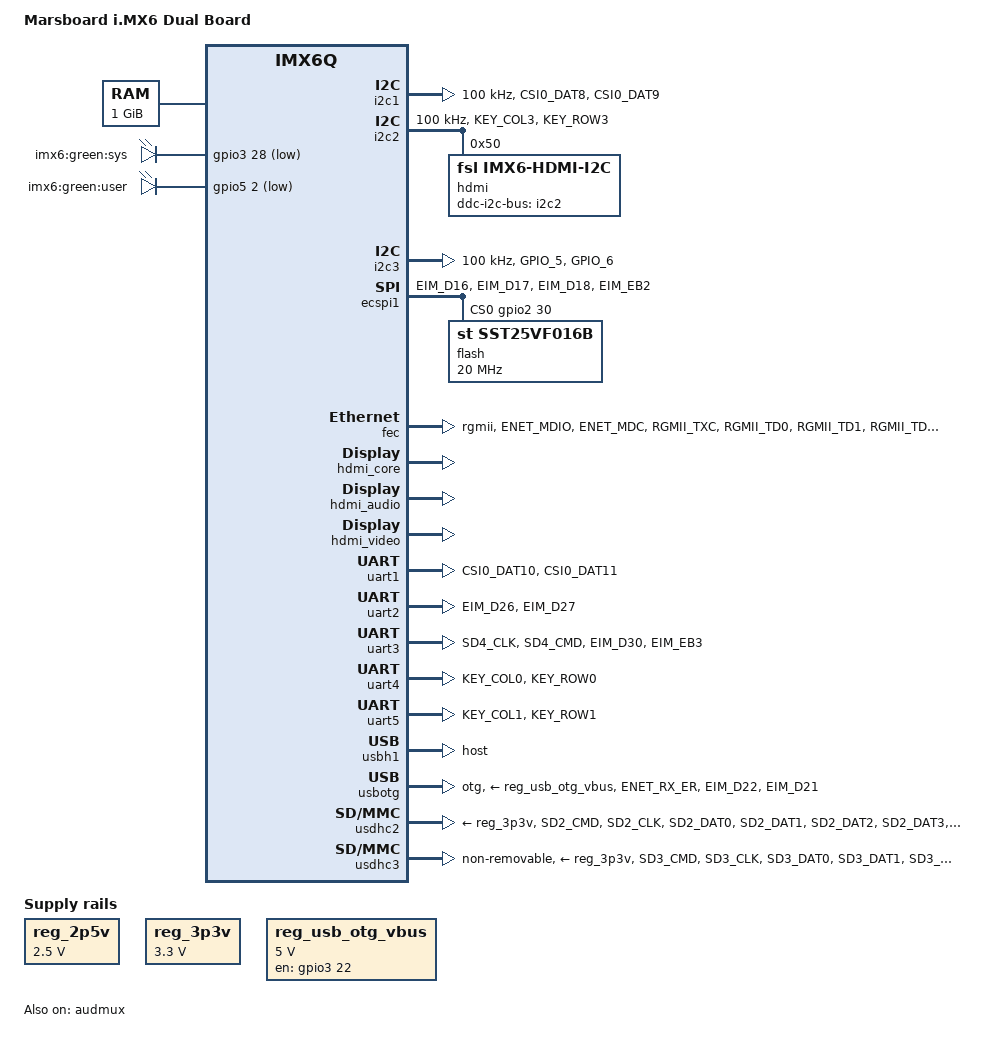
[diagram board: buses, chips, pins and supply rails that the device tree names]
/dts-v1/;

#include "imx6q.dtsi"
#include <dt-bindings/gpio/gpio.h>

/ {
  	model = "Marsboard i.MX6 Dual Board";
	compatible = "embest,imx6q-marsboard", "fsl,imx6q";


	aliases {
		mxcfb0 = &mxcfb1;
		mxcfb1 = &mxcfb2;
		mxcfb2 = &mxcfb3;
		mxcfb3 = &mxcfb4;
	};


	memory {
		reg = <0x10000000 0x40000000>;
	};


	regulators {
		compatible = "simple-bus";
		#address-cells = <1>;
		#size-cells = <0>;

		reg_2p5v: regulator@0 {
			compatible = "regulator-fixed";
			reg = <0>;
			regulator-name = "2P5V";
			regulator-min-microvolt = <2500000>;
			regulator-max-microvolt = <2500000>;
		};

		reg_3p3v: regulator@1 {
			compatible = "regulator-fixed";
			reg = <1>;
			regulator-name = "3P3V";
			regulator-min-microvolt = <3300000>;
			regulator-max-microvolt = <3300000>;
		};

		reg_usb_otg_vbus: regulator@2 {
			compatible = "regulator-fixed";
			reg = <2>;
			regulator-name = "usb_otg_vbus";
			regulator-min-microvolt = <5000000>;
			regulator-max-microvolt = <5000000>;
			gpio = <&gpio3 22 0>; // Alt4: USB_OTG_PWR
			enable-active-high;
		};
	};

	leds { /* see iomuxc definition below */
		compatible = "gpio-leds";
		pinctrl-names = "default";
		pinctrl-0 = <&pinctrl_led>;

		sys_led {
			label = "imx6:green:sys";
			gpios = <&gpio3 28 GPIO_ACTIVE_LOW>;
			linux,default-trigger = "heartbeat";
		};

		user_led {
			label = "imx6:green:user";
			gpios = <&gpio5 2 GPIO_ACTIVE_LOW>;
			default-state = "off";
		};
	};
	
	sound-hdmi {
		compatible = "fsl,imx6q-audio-hdmi", "fsl,imx-audio-hdmi";
		model = "imx-audio-hdmi";
		hdmi-controller = <&hdmi_audio>;
		status = "okay";
	};

	mxcfb1: fb@0 {
		compatible = "fsl,mxc_sdc_fb";
		disp_dev = "hdmi";
		interface_pix_fmt = "RGB24";
		mode_str ="1280x720M@60";
		default_bpp = <32>;
		int_clk = <0>;
		late_init = <0>;
		status = "okay";
	};

	mxcfb2: fb@1 {
		compatible = "fsl,mxc_sdc_fb";
		disp_dev = "ldb";
		interface_pix_fmt = "RGB666";
		mode_str ="LDB-XGA";
		default_bpp = <16>;
		int_clk = <0>;
		late_init = <0>;
		status = "disabled";
	};

	mxcfb3: fb@2 {
		compatible = "fsl,mxc_sdc_fb";
		disp_dev = "lcd";
		interface_pix_fmt = "RGB565";
		mode_str ="CLAA-WVGA";
		default_bpp = <16>;
		int_clk = <0>;
		late_init = <0>;
		status = "disabled";
	};

	mxcfb4: fb@3 {
		compatible = "fsl,mxc_sdc_fb";
		disp_dev = "ldb";
		interface_pix_fmt = "RGB666";
		mode_str ="LDB-XGA";
		default_bpp = <16>;
		int_clk = <0>;
		late_init = <0>;
		status = "disabled";
	};

	v4l2_cap_0 {
		compatible = "fsl,imx6q-v4l2-capture";
		ipu_id = <0>;
		csi_id = <0>;
		mclk_source = <0>;
		status = "disabled";
	}; 

	v4l2_cap_1 {
		compatible = "fsl,imx6q-v4l2-capture";
		ipu_id = <0>;
		csi_id = <1>;
		mclk_source = <0>;
		status = "disabled";
	};

	v4l2_out { // v4l2 output support: /dev/video16 + /dev/video17
		compatible = "fsl,mxc_v4l2_output";
		status = "okay";
	};

};

&iomuxc {
	pinctrl-names = "default";

	imx6q-marsboard {

		pinctrl_led: ledgrp {
			fsl,pins = < 
				/* gpio-leds */
				MX6QDL_PAD_EIM_A25__GPIO5_IO02		0x1b0b1	/* user led */
				MX6QDL_PAD_EIM_D28__GPIO3_IO28		0x1b0b1	/* sys led */
			>;
		};

               pinctrl_audmux: audmuxgrp {
                       fsl,pins = <
                               MX6QDL_PAD_CSI0_DAT7__AUD3_RXD          0x130b0
                               MX6QDL_PAD_CSI0_DAT4__AUD3_TXC          0x130b0
                               MX6QDL_PAD_CSI0_DAT5__AUD3_TXD          0x110b0
                               MX6QDL_PAD_CSI0_DAT6__AUD3_TXFS         0x130b0
                       >;
               };

		pinctrl_ecspi1: ecspi1grp {
			fsl,pins = <
				MX6QDL_PAD_EIM_D16__ECSPI1_SCLK		0x100b1
				MX6QDL_PAD_EIM_D17__ECSPI1_MISO		0x100b1
				MX6QDL_PAD_EIM_D18__ECSPI1_MOSI		0x100b1
				MX6QDL_PAD_EIM_EB2__GPIO2_IO30		0x000b1	/* CS0 */
			>;
		};

		pinctrl_ecspi2: ecspi2grp {
			fsl,pins = <
				MX6QDL_PAD_EIM_CS0__ECSPI2_SCLK		0x100b1
				MX6QDL_PAD_EIM_CS1__ECSPI2_MOSI		0x100b1
				MX6QDL_PAD_EIM_OE__ECSPI2_MISO		0x100b1
				MX6QDL_PAD_EIM_LBA__GPIO2_IO27		0x000b1	/* CS0 */
				MX6QDL_PAD_EIM_A17__GPIO2_IO21		0x000b1	/* IRQ */
			>;
		};

		pinctrl_enet: enetgrp {
			fsl,pins = <
				MX6QDL_PAD_ENET_MDIO__ENET_MDIO		0x1b8b0
				MX6QDL_PAD_ENET_MDC__ENET_MDC 		0x1b0b0
				MX6QDL_PAD_RGMII_TXC__RGMII_TXC		0x1b0b0
				MX6QDL_PAD_RGMII_TD0__RGMII_TD0		0x1b030
				MX6QDL_PAD_RGMII_TD1__RGMII_TD1		0x1b030
				MX6QDL_PAD_RGMII_TD2__RGMII_TD2		0x1b030
				MX6QDL_PAD_RGMII_TD3__RGMII_TD3		0x1b030
				MX6QDL_PAD_RGMII_TX_CTL__RGMII_TX_CTL	0x1b030
				MX6QDL_PAD_ENET_REF_CLK__ENET_TX_CLK	0x0a0b1
				MX6QDL_PAD_RGMII_RXC__RGMII_RXC		0x1b030 // AR8035 pin strapping: IO voltage: pull up
				MX6QDL_PAD_RGMII_RD0__RGMII_RD0		0x13030 // AR8035 pin strapping: PHYADDR#0: pull down
				MX6QDL_PAD_RGMII_RD1__RGMII_RD1		0x13030 // AR8035 pin strapping: PHYADDR#1: pull down
				MX6QDL_PAD_RGMII_RD2__RGMII_RD2		0x1b030 // AR8035 pin strapping: MODE#1: pull up
				MX6QDL_PAD_RGMII_RD3__RGMII_RD3		0x1b030 // AR8035 pin strapping: MODE#3: pull up 
				MX6QDL_PAD_RGMII_RX_CTL__RGMII_RX_CTL	0x13030 // AR8035 pin strapping: MODE#0: pull down
				MX6QDL_PAD_GPIO_16__ENET_REF_CLK	0x4001b0a8
				MX6QDL_PAD_ENET_TX_EN__GPIO1_IO28	0x180b0 // AR8035 interrupt
				MX6QDL_PAD_EIM_D31__GPIO3_IO31		0x130b0 // AR8035 reset
			>;
		};

		pinctrl_usdhc2: usdhc2grp {
			fsl,pins = <
				MX6QDL_PAD_SD2_CMD__SD2_CMD    		0x17059
				MX6QDL_PAD_SD2_CLK__SD2_CLK    		0x10059
				MX6QDL_PAD_SD2_DAT0__SD2_DATA0 		0x17059
				MX6QDL_PAD_SD2_DAT1__SD2_DATA1 		0x17059
				MX6QDL_PAD_SD2_DAT2__SD2_DATA2 		0x17059
				MX6QDL_PAD_SD2_DAT3__SD2_DATA3 		0x17059
				MX6QDL_PAD_GPIO_4__GPIO1_IO04		0x1b0b0	/* SD2 CD */
			>;
		};

		pinctrl_usdhc3: usdhc3grp {
			fsl,pins = <
				MX6QDL_PAD_SD3_CMD__SD3_CMD    		0x17009
				MX6QDL_PAD_SD3_CLK__SD3_CLK    		0x10009
				MX6QDL_PAD_SD3_DAT0__SD3_DATA0 		0x17009
				MX6QDL_PAD_SD3_DAT1__SD3_DATA1 		0x17009
				MX6QDL_PAD_SD3_DAT2__SD3_DATA2 		0x17009
				MX6QDL_PAD_SD3_DAT3__SD3_DATA3 		0x17009
				MX6QDL_PAD_SD3_RST__GPIO7_IO08		0x17009	/* SD3 RST */
			>;
		};

		pinctrl_i2c1: i2c1grp {
			fsl,pins = <
				MX6QDL_PAD_CSI0_DAT8__I2C1_SDA		0x4001b8b1
				MX6QDL_PAD_CSI0_DAT9__I2C1_SCL		0x4001b8b1
			>;
		};

		pinctrl_i2c2: i2c2grp {
			fsl,pins = <
				MX6QDL_PAD_KEY_COL3__I2C2_SCL 		0x4001b8b1
				MX6QDL_PAD_KEY_ROW3__I2C2_SDA 		0x4001b8b1
			>;
		};

		pinctrl_i2c3: i2c3grp {
			fsl,pins = <
				MX6QDL_PAD_GPIO_5__I2C3_SCL		0x4001b8b1
				MX6QDL_PAD_GPIO_6__I2C3_SDA		0x4001b8b1
			>;
		};

		pinctrl_uart1: uart1grp {
			fsl,pins = <
				MX6QDL_PAD_CSI0_DAT10__UART1_TX_DATA	0x1b0b1
				MX6QDL_PAD_CSI0_DAT11__UART1_RX_DATA	0x1b0b1
			>;
		};

		pinctrl_uart2: uart2grp {
			fsl,pins = <
				MX6QDL_PAD_EIM_D26__UART2_TX_DATA	0x1b0b1
				MX6QDL_PAD_EIM_D27__UART2_RX_DATA	0x1b0b1
			>;
		};

		pinctrl_uart3: uart3grp {
			fsl,pins = <
				MX6QDL_PAD_SD4_CLK__UART3_RX_DATA	0x1b0b1
				MX6QDL_PAD_SD4_CMD__UART3_TX_DATA	0x1b0b1
				MX6QDL_PAD_EIM_D30__UART3_CTS_B   	0x1b0b1
				MX6QDL_PAD_EIM_EB3__UART3_RTS_B   	0x1b0b1
			>;
		};

		pinctrl_uart4: uart4grp {
			fsl,pins = <
				MX6QDL_PAD_KEY_COL0__UART4_TX_DATA	0x1b0b1
				MX6QDL_PAD_KEY_ROW0__UART4_RX_DATA	0x1b0b1
			>;
		};

		pinctrl_uart5: uart5grp {
			fsl,pins = <
				MX6QDL_PAD_KEY_COL1__UART5_TX_DATA	0x1b0b1
				MX6QDL_PAD_KEY_ROW1__UART5_RX_DATA	0x1b0b1
			>;
		};

		pinctrl_usbotg: usbotggrp {
			fsl,pins = <
				MX6QDL_PAD_ENET_RX_ER__USB_OTG_ID	0x17059
				MX6QDL_PAD_EIM_D22__GPIO3_IO22		0x000b0	/* MX6QDL_PAD_EIM_D22__USB_OTG_PWR */
				MX6QDL_PAD_EIM_D21__USB_OTG_OC		0x1b0b0
			>;
		};
	};
};


&i2c1 {
	clock-frequency = <100000>;
	pinctrl-names = "default";
	pinctrl-0 = <&pinctrl_i2c1>;
	status = "okay";
};


// part of HDMI (J1)
&i2c2 {
	clock-frequency = <100000>;
	pinctrl-names = "default";
	pinctrl-0 = <&pinctrl_i2c2>;
	status = "okay";

	hdmi: edid@50 {
		compatible = "fsl,imx6-hdmi-i2c";
		reg = <0x50>;
	};
};


&i2c3 {
	clock-frequency = <100000>;
	pinctrl-names = "default";
	pinctrl-0 = <&pinctrl_i2c3>;
	status = "okay";
};


&cpu0 {
	arm-supply = <&reg_arm>;
	soc-supply = <&reg_soc>;
	pu-supply = <&reg_pu>; /* use pu_dummy if VDDSOC share with VDDPU */
};


&gpc {
	fsl,ldo-bypass = <0>; /* use ldo-bypass, u-boot will check it and configure */
	fsl,wdog-reset = <1>; /* watchdog select of reset source */
	pu-supply = <&reg_pu>; /* ldo-bypass:use pu_dummy if VDDSOC share with VDDPU */
};


&vpu {
	pu-supply = <&reg_pu>; /* ldo-bypass:use pu_dummy if VDDSOC share with VDDPU */
};

&audmux {
	pinctrl-names = "default";
	pinctrl-0 = <&pinctrl_audmux>;
	status = "okay";
};

&ecspi1 {
	pinctrl-names = "default";
	pinctrl-0 = <&pinctrl_ecspi1>;
	cs-gpios = <&gpio2 30 GPIO_ACTIVE_HIGH>;
	fsl,spi-num-chipselects = <1>;
	status = "okay";

	flash: m25p80@0 {
		compatible = "st,sst25vf016b";
		reg = <0>;
		spi-max-frequency = <20000000>;
		#address-cells = <1>;
		#size-cells = <1>;
	};
};


&fec {
	pinctrl-names = "default";
	pinctrl-0 = <&pinctrl_enet>;
	phy-mode = "rgmii";
	phy-reset-duration = <10>;
	phy-reset-gpios = <&gpio3 31 0>;
	status = "okay";
};


&hdmi {
	ddc-i2c-bus = <&i2c2>;
	status = "okay";
};


&hdmi_core {
	ipu_id = <1>;
	disp_id = <0>;
	status = "okay";
};


&hdmi_audio {
	status = "okay";
};


&hdmi_video {
	fsl,phy_reg_vlev = <0x0294>;
	fsl,phy_reg_cksymtx = <0x800d>;
	status = "okay";
};


&mxcfb1 {
	status = "okay";
};


&uart1 {
	pinctrl-names = "default";
	pinctrl-0 = <&pinctrl_uart1>;
	status = "okay";
};


// this is debug com
&uart2 {
	pinctrl-names = "default";
	pinctrl-0 = <&pinctrl_uart2>;
	status = "okay";
};


&uart3 {
	pinctrl-names = "default";
	pinctrl-0 = <&pinctrl_uart3>;
	status = "okay";
};


&uart4 {
	pinctrl-names = "default";
	pinctrl-0 = <&pinctrl_uart4>;
	status = "okay";
};


&uart5 {
	pinctrl-names = "default";
	pinctrl-0 = <&pinctrl_uart5>;
	status = "okay";
};


&usbh1 {
	dr_mode = "host";
	disable-over-current;
	status = "okay";
};


&usbotg {
	vbus-supply = <&reg_usb_otg_vbus>;
	pinctrl-names = "default";
	pinctrl-0 = <&pinctrl_usbotg>;
	disable-over-current;
	dr_mode = "otg";
	status = "okay";
};


// micro-SD card J13
&usdhc2 {
	pinctrl-names = "default";
	pinctrl-0 = <&pinctrl_usdhc2>;
	cd-gpios = <&gpio1 4 0>;
	wp-gpios = <&gpio1 2 0>;
	vmmc-supply = <&reg_3p3v>;
	status = "okay";
};


// on-board eMMC
&usdhc3 {
	pinctrl-names = "default";
	pinctrl-0 = <&pinctrl_usdhc3>;
	vmmc-supply = <&reg_3p3v>;
	non-removable;
	status = "okay";	// does not work reliably. TODO: fix it!
};

